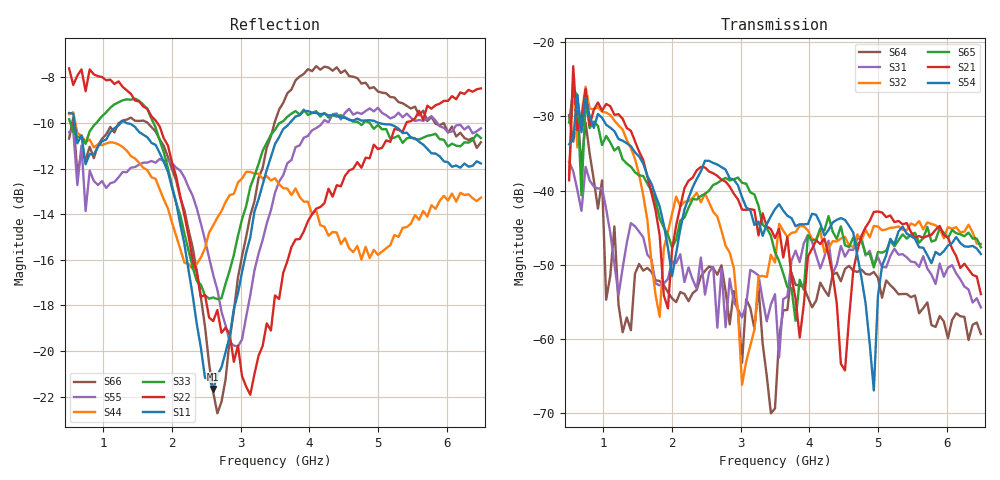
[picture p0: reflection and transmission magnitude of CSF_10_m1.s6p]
!Keysight Technologies,M9804A,MY58100912,A.14.10.03
!Date: Thursday, April 27, 2023 10:28:33
!Correction: S11(C  6-Port  )
!S12(C  6-Port  )
!S13(C  6-Port  )
!S14(C  6-Port  )
!S15(C  6-Port  )
!S16(C  6-Port  )
!S21(C  6-Port  )
!S22(C  6-Port  )
!S23(C  6-Port  )
!S24(C  6-Port  )
!S25(C  6-Port  )
!S26(C  6-Port  )
!S31(C  6-Port  )
!S32(C  6-Port  )
!S33(C  6-Port  )
!S34(C  6-Port  )
!S35(C  6-Port  )
!S36(C  6-Port  )
!S41(C  6-Port  )
!S42(C  6-Port  )
!S43(C  6-Port  )
!S44(C  6-Port  )
!S45(C  6-Port  )
!S46(C  6-Port  )
!S51(C  6-Port  )
!S52(C  6-Port  )
!S53(C  6-Port  )
!S54(C  6-Port  )
!S55(C  6-Port  )
!S56(C  6-Port  )
!S61(C  6-Port  )
!S62(C  6-Port  )
!S63(C  6-Port  )
!S64(C  6-Port  )
!S65(C  6-Port  )
!S66(C  6-Port  )
!S6P File: Measurement: :
# Hz S  RI  R 50
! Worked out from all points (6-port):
!   101 points, 500 MHz to 6.5 GHz, reference 50 ohm
!   strongest paths, dB at 500 MHz, 2 GHz, 3.5 GHz, 5 GHz, 6.5 GHz:
!     S54: -33.8, -51.5, -42.5, -54.2, -48.5
!     S21: -38.6, -48.0, -46.4, -42.8, -53.9
!     S65: -30.8, -47.7, -48.3, -48.3, -47.6
!     S32: -37.9, -43.1, -49.7, -44.8, -47.2
!     S31: -36.1, -49.6, -54.0, -49.0, -55.7
!     S64: -29.8, -54.5, -69.4, -51.7, -59.3
!   lowest |S11| = -21.7 dB at 2.6 GHz (marker M1), VSWR 1.18, Z = 42.6 + j2.04 ohm
!   |S11| at or under -10 dB: 578.8 MHz to 1.253 GHz (674.4 MHz wide, 73.6 % of centre); 1.332 GHz to 3.716 GHz (2.384 GHz wide, 94.4 % of centre); 5.011 GHz to end of sweep
